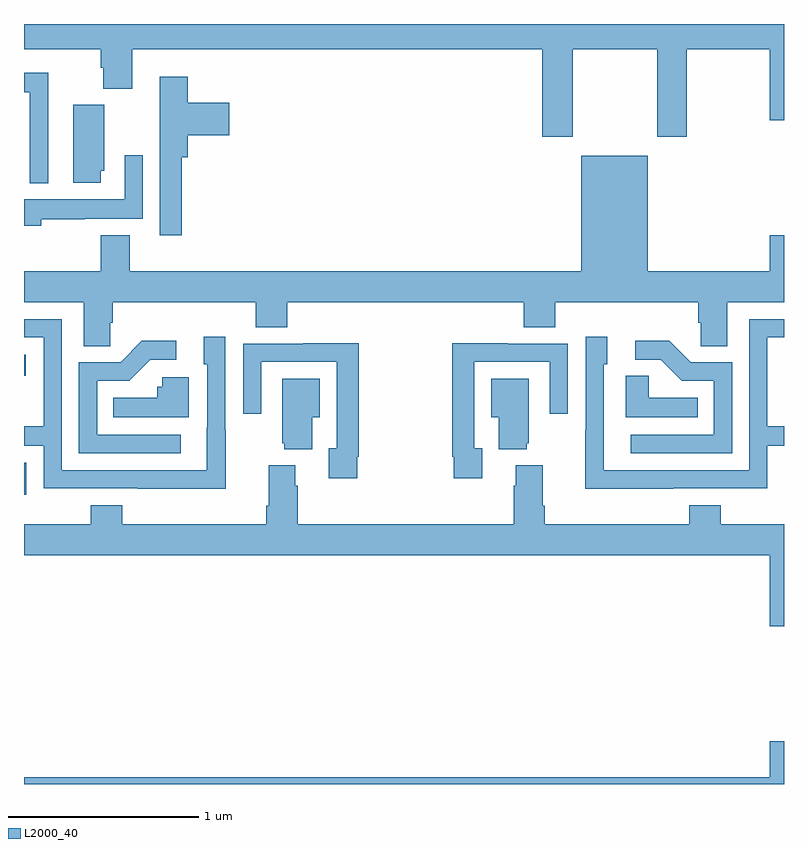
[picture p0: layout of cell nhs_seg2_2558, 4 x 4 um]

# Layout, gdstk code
import gdstk
lib = gdstk.Library(unit=1e-6, precision=1e-09)
def R(c, l, rs):  # rectangles x0, y0, x1, y1
    for r in rs: c.add(gdstk.rectangle(r[:2], r[2:], *l))
def P(c, l, *ps):  # polygons
    for p in ps: c.add(gdstk.Polygon(p, *l))
L2000_40 = (2000, 40)

nhs_seg2_2558 = lib.new_cell('nhs_seg2_2558')
R(nhs_seg2_2558, L2000_40, [(245,613.323,245.013,613.491), (245,613.949,245.008,614.059)])
P(nhs_seg2_2558, L2000_40, [(247.887,615.668),(248.332,615.668),(248.332,615.207),(248.487,615.207),(248.487,615.668),(248.924,615.668),(248.924,615.294),(249,615.294),(249,615.8),(245,615.8),(245,615.668),(245.405,615.668),(245.405,615.569),(245.417,615.569),(245.417,615.46),(245.57,615.46),(245.57,615.668),(247.727,615.668),(247.727,615.207),(247.887,615.207)],
  [(245.128,615.544),(245,615.544),(245,615.44),(245.031,615.44),(245.031,614.963),(245.128,614.963)],
  [(245.831,615.098),(245.861,615.098),(245.861,615.215),(246.079,615.215),(246.079,615.385),(245.861,615.385),(245.861,615.523),(245.714,615.523),(245.714,615.231),(245.715,615.231),(245.715,614.688),(245.831,614.688)],
  [(245.404,615.027),(245.422,615.027),(245.422,615.375),(245.258,615.375),(245.258,614.964),(245.404,614.964)],
  [(245.09,614.772),(245.321,614.772),(245.321,614.774),(245.625,614.774),(245.625,615.109),(245.529,615.109),(245.529,614.878),(245,614.878),(245,614.738),(245.09,614.738)],
  [(245.454,614.227),(245.468,614.227),(245.468,614.336),(246.221,614.336),(246.221,614.203),(246.386,614.203),(246.386,614.336),(247.631,614.336),(247.631,614.203),(247.796,614.203),(247.796,614.336),(248.549,614.336),(248.549,614.227),(248.562,614.227),(248.562,614.104),(248.701,614.104),(248.701,614.336),(249,614.336),(249,614.689),(248.924,614.689),(248.924,614.5),(248.284,614.5),(248.284,615.106),(247.934,615.106),(247.934,614.5),(245.557,614.5),(245.557,614.689),(245.405,614.689),(245.405,614.5),(245,614.5),(245,614.336),(245.315,614.336),(245.315,614.104),(245.454,614.104)],
  [(248.417,613.356),(248.913,613.356),(248.913,613.581),(249,613.581),(249,613.682),(248.913,613.682),(248.913,614.151),(249,614.151),(249,614.247),(248.817,614.247),(248.817,613.452),(248.052,613.452),(248.052,614.01),(248.071,614.01),(248.071,614.155),(247.956,614.155),(247.956,613.661),(247.954,613.661),(247.954,613.355),(248.417,613.355)],
  [(246.063,613.661),(246.06,613.661),(246.06,614.155),(245.945,614.155),(245.945,614.01),(245.964,614.01),(245.964,613.676),(245.963,613.676),(245.963,613.452),(245.199,613.452),(245.199,614.247),(245,614.247),(245,614.151),(245.103,614.151),(245.103,613.682),(245,613.682),(245,613.581),(245.103,613.581),(245.103,613.356),(245.599,613.356),(245.599,613.355),(246.063,613.355)],
  [(248.727,614.019),(248.508,614.019),(248.395,614.132),(248.217,614.132),(248.217,614.034),(248.351,614.034),(248.462,613.923),(248.631,613.923),(248.631,613.638),(248.193,613.638),(248.193,613.542),(248.727,613.542)],
  [(245.824,613.638),(245.385,613.638),(245.385,613.923),(245.554,613.923),(245.665,614.034),(245.8,614.034),(245.8,614.132),(245.621,614.132),(245.508,614.019),(245.289,614.019),(245.289,613.542),(245.824,613.542)],
  [(246.754,613.522),(246.761,613.522),(246.761,614.12),(246.469,614.12),(246.469,614.118),(246.153,614.118),(246.153,613.749),(246.249,613.749),(246.249,614.022),(246.645,614.022),(246.645,613.566),(246.605,613.566),(246.605,613.41),(246.754,613.41)],
  [(247.411,613.566),(247.371,613.566),(247.371,614.022),(247.767,614.022),(247.767,613.749),(247.863,613.749),(247.863,614.118),(247.547,614.118),(247.547,614.12),(247.255,614.12),(247.255,613.522),(247.263,613.522),(247.263,613.41),(247.411,613.41)],
  [(248.546,613.834),(248.289,613.834),(248.289,613.949),(248.168,613.949),(248.168,613.73),(248.546,613.73)],
  [(245.866,613.942),(245.727,613.942),(245.727,613.89),(245.701,613.89),(245.701,613.834),(245.47,613.834),(245.47,613.73),(245.866,613.73)],
  [(246.517,613.73),(246.556,613.73),(246.556,613.933),(246.359,613.933),(246.359,613.593),(246.371,613.593),(246.371,613.562),(246.517,613.562)],
  [(247.646,613.593),(247.657,613.593),(247.657,613.933),(247.46,613.933),(247.46,613.73),(247.499,613.73),(247.499,613.562),(247.646,613.562)],
  [(249,613.168),(248.666,613.168),(248.666,613.267),(248.501,613.267),(248.501,613.168),(247.742,613.168),(247.742,613.264),(247.729,613.264),(247.729,613.477),(247.589,613.477),(247.589,613.37),(247.577,613.37),(247.577,613.168),(246.44,613.168),(246.44,613.37),(246.427,613.37),(246.427,613.477),(246.287,613.477),(246.287,613.264),(246.275,613.264),(246.275,613.168),(245.516,613.168),(245.516,613.267),(245.351,613.267),(245.351,613.168),(245,613.168),(245,613.004),(248.924,613.004),(248.924,612.63),(249,612.63)],
  [(249,612.025),(248.924,612.025),(248.924,611.836),(245,611.836),(245,611.8),(249,611.8)])

lib.write_gds('nhs_seg2_2558.gds')
